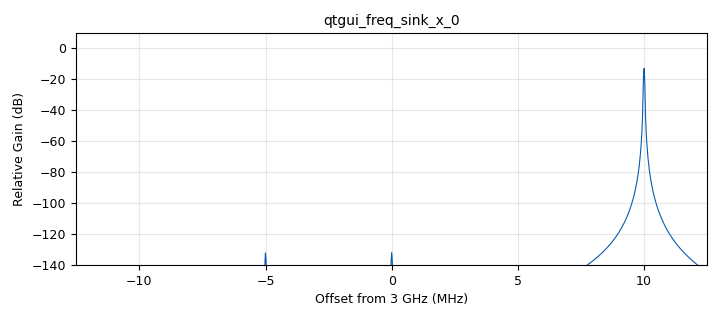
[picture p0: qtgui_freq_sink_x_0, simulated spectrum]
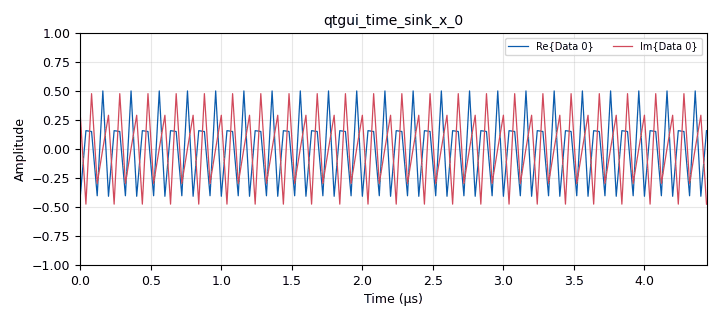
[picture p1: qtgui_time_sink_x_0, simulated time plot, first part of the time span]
options:
  parameters:
    author: david
    generate_options: qt_gui
    id: tx_link_budget_calibration
    output_language: python
    title: tx_link_budget_calibration
  states: {}

blocks:
- name: Tx_gain
  id: variable
  parameters:
    value: '30'
  states: {}
- name: device_address
  id: variable
  parameters:
    value: '"serial=3231EFC"'
  states: {}
- name: frequency
  id: variable
  parameters:
    value: 3e9
  states: {}
- name: measurement_time_ms
  id: variable
  parameters:
    value: '10'
  states: {}
- name: num_samples
  id: variable
  parameters:
    value: round(measurement_time_ms * 1e-3 * samp_rate)
  states: {}
- name: samp_rate
  id: variable
  parameters:
    value: 25e6
  states: {}
- name: tone_frequency
  id: variable
  parameters:
    value: 10e6
  states: {}
- name: analog_sig_source_x_0
  id: analog_sig_source_x
  parameters:
    amp: '0.5'
    freq: tone_frequency
    offset: '0'
    phase: '0'
    samp_rate: samp_rate
    type: complex
    waveform: analog.GR_COS_WAVE
  states: {}
- name: average_power_db
  id: qtgui_number_sink
  parameters:
    graph_type: qtgui.NUM_GRAPH_HORIZ
    name: '"Average Power (dB)"'
    type: float
  states: {}
- name: blocks_complex_to_mag_squared_0
  id: blocks_complex_to_mag_squared
  parameters: {}
  states: {}
- name: blocks_moving_average_xx_0
  id: blocks_moving_average_xx
  parameters:
    length: num_samples
    max_iter: num_samples
    scale: samp_rate/num_samples
    type: float
  states: {}
- name: blocks_nlog10_ff_0
  id: blocks_nlog10_ff
  parameters:
    k: '0'
    n: '10'
  states: {}
- name: qtgui_freq_sink_x_0
  id: qtgui_freq_sink_x
  parameters:
    bw: samp_rate
    fc: frequency
    fftsize: '1024'
    type: complex
    wintype: window.WIN_HANN
  states: {}
- name: qtgui_time_sink_x_0
  id: qtgui_time_sink_x
  parameters:
    size: '1024'
    srate: samp_rate
    type: complex
  states: {}
- name: uhd_usrp_sink_0
  id: uhd_usrp_sink
  parameters:
    ant0: '"TX/RX"'
    bw0: samp_rate
    center_freq0: frequency
    dev_addr: device_address
    gain0: Tx_gain
    samp_rate: samp_rate
    stream_chans: '[1]'
    sync: sync
    type: fc32
  states: {}

connections:
- [analog_sig_source_x_0, '0', blocks_complex_to_mag_squared_0, '0']
- [analog_sig_source_x_0, '0', qtgui_freq_sink_x_0, '0']
- [analog_sig_source_x_0, '0', qtgui_time_sink_x_0, '0']
- [analog_sig_source_x_0, '0', uhd_usrp_sink_0, '0']
- [blocks_complex_to_mag_squared_0, '0', blocks_moving_average_xx_0, '0']
- [blocks_moving_average_xx_0, '0', blocks_nlog10_ff_0, '0']
- [blocks_nlog10_ff_0, '0', average_power_db, '0']

metadata:
  file_format: 1
  grc_version: v3.11.0.0git-452-g0f205085
